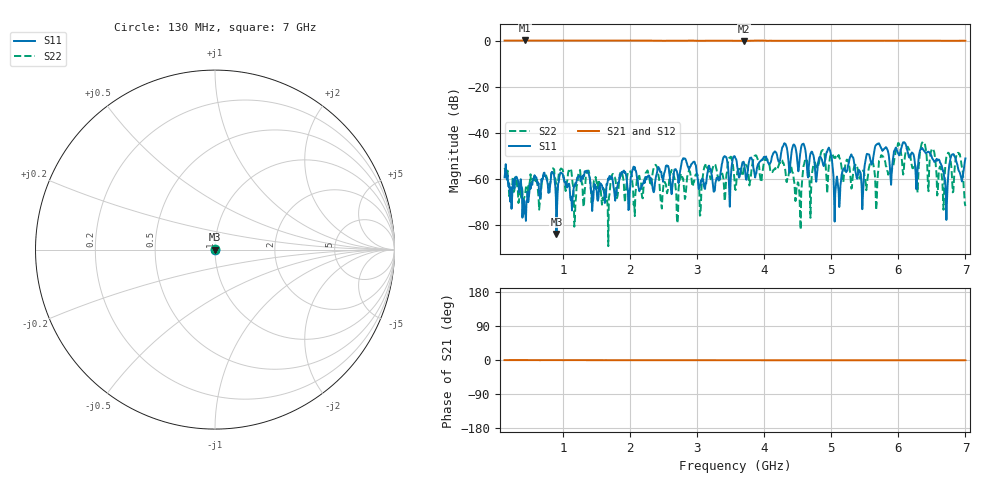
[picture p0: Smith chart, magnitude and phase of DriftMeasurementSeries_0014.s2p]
# Hz S RI R 50.000000
! Metas.Vna.Tools, 2.8.8664.20301
! Metas.Vna.Data, 2.8.8664.20285
! Created: UTC 2024.02.11 10:08:10
! FREQ  re:S1,1  im:S1,1  re:S2,1  im:S2,1  re:S1,2  im:S1,2  re:S2,2  im:S2,2
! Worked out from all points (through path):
!   801 points, 130 MHz to 7 GHz, reference 50 ohm
!   highest |S21| = 0.05 dB at 439.1 MHz (marker M1); lowest = -0.1 dB at 3.694 GHz (marker M2)
!   lowest |S11| = -84.1 dB at 902.9 MHz (marker M3), VSWR 1.00, Z = 50 - j0.00385 ohm
!   |S11| at or under -10 dB: start of sweep to end of sweep
!   |S22| runs from -89.4 to -44.0 dB; largest |S21 - S12| = 0.014
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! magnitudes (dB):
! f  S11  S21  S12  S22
! 130 MHz  -59.5  0.0  0.0  -55.4
! 439.1 MHz  -74.9  0.1  0.0  -66.1
! 585.1 MHz  -59.4  0.0  0.0  -60.9
! 902.9 MHz  -84.1  0.0  0.0  -63.6
! 1.281 GHz  -59.3  0.0  0.0  -62.2
! 2.423 GHz  -55.0  -0.1  0.0  -58.6
! 3.264 GHz  -65.1  -0.1  0.0  -53.8
! 3.565 GHz  -50.6  0.0  0.0  -64.5
! 3.694 GHz  -52.7  -0.1  0.0  -55.8
! 4.716 GHz  -48.4  -0.1  0.0  -57.2
! 4.973 GHz  -47.4  -0.1  0.0  -52.7
! 5.085 GHz  -59.1  -0.1  0.0  -49.8
! 5.3 GHz  -49.5  -0.1  0.0  -64.4
! 5.454 GHz  -64.0  -0.1  0.0  -56.8
! 5.686 GHz  -44.9  0.0  0.0  -62.3
! 5.858 GHz  -49.9  0.0  0.0  -57.6
! 5.995 GHz  -48.9  -0.1  0.0  -44.6
! 6.27 GHz  -64.7  -0.1  0.0  -57.8
! 6.373 GHz  -47.4  -0.1  0.0  -44.2
! 6.665 GHz  -56.7  -0.1  0.0  -67.2
! 6.897 GHz  -56.3  -0.1  0.0  -48.8
! 7 GHz  -51.2  -0.1  0.0  -71.9
